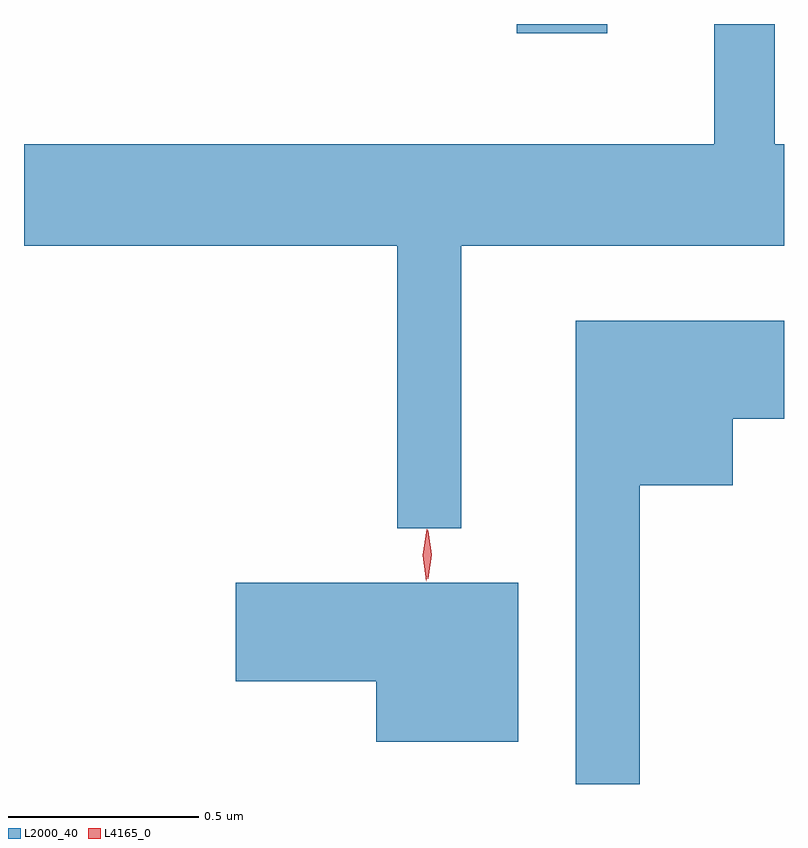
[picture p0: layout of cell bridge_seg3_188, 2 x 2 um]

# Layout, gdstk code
import gdstk
lib = gdstk.Library(unit=1e-6, precision=1e-09)
def R(c, l, rs):  # rectangles x0, y0, x1, y1
    for r in rs: c.add(gdstk.rectangle(r[:2], r[2:], *l))
def P(c, l, *ps):  # polygons
    for p in ps: c.add(gdstk.Polygon(p, *l))
L2000_40 = (2000, 40)
L4165_0 = (4165, 0)

bridge_seg3_188 = lib.new_cell('bridge_seg3_188')
R(bridge_seg3_188, L2000_40, [(720.716,1173.196,720.954,1173.22)])
P(bridge_seg3_188, L2000_40, [(720.569,1172.636),(721.419,1172.636),(721.419,1172.904),(721.394,1172.904),(721.394,1173.22),(721.236,1173.22),(721.236,1172.904),(719.419,1172.904),(719.419,1172.636),(720.401,1172.636),(720.401,1171.893),(720.569,1171.893)],
  [(721.039,1172.006),(721.284,1172.006),(721.284,1172.181),(721.419,1172.181),(721.419,1172.439),(720.871,1172.439),(720.871,1171.22),(721.039,1171.22)],
  [(720.719,1171.749),(719.976,1171.749),(719.976,1171.491),(720.346,1171.491),(720.346,1171.331),(720.719,1171.331)])
P(bridge_seg3_188, L4165_0, [(720.482,1171.76),(720.482,1171.76),(720.472,1171.823),(720.482,1171.886),(720.482,1171.887),(720.483,1171.886),(720.492,1171.823),(720.483,1171.76)],
  [(720.477,1171.754),(720.477,1171.754),(720.468,1171.822),(720.479,1171.89),(720.479,1171.89),(720.48,1171.89),(720.488,1171.822),(720.478,1171.754)])

lib.write_gds('bridge_seg3_188.gds')
